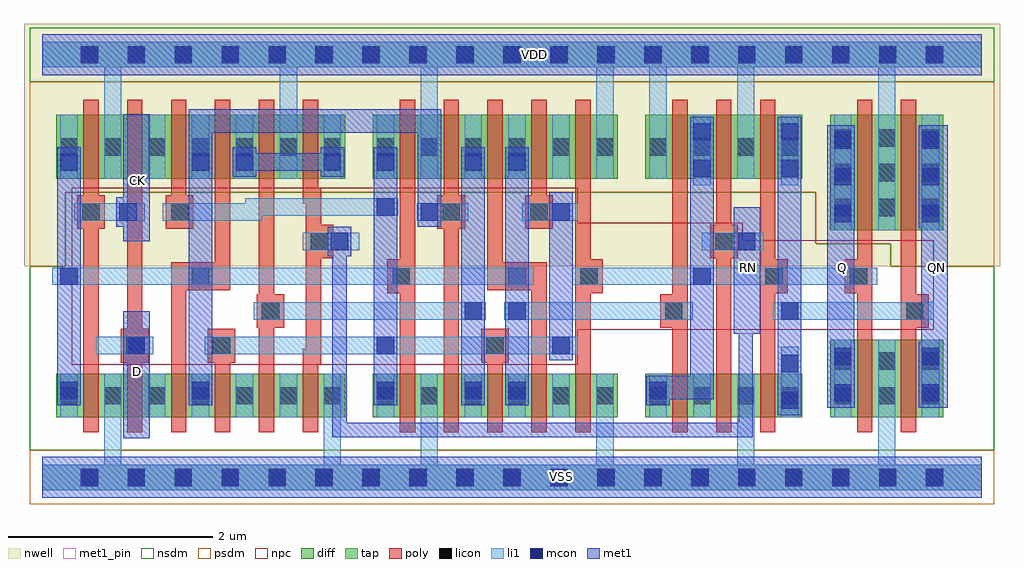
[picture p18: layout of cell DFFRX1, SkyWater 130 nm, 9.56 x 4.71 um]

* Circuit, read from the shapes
.subckt DFFRX1 CK D Q QN RN VDD VSS
XM1 VSS CK n1 VSS sky130_fd_pr__nfet_01v8 w=0.425 l=0.15
XM2 n2 D VSS VSS sky130_fd_pr__nfet_01v8 w=0.425 l=0.15
XM3 n3 n1 n2 VSS sky130_fd_pr__nfet_01v8 w=0.425 l=0.15
XM4 n4 n5 n3 VSS sky130_fd_pr__nfet_01v8 w=0.425 l=0.15
XM5 n6 n7 n4 VSS sky130_fd_pr__nfet_01v8 w=0.425 l=0.15
XM6 VSS RN n6 VSS sky130_fd_pr__nfet_01v8 w=0.425 l=0.15
XM7 VSS n1 n5 VSS sky130_fd_pr__nfet_01v8 w=0.425 l=0.15
XM8 n7 n3 VSS VSS sky130_fd_pr__nfet_01v8 w=0.425 l=0.15
XM9 n8 n5 n7 VSS sky130_fd_pr__nfet_01v8 w=0.425 l=0.15
XM10 n9 n1 n8 VSS sky130_fd_pr__nfet_01v8 w=0.425 l=0.15
XM11 VSS n10 n9 VSS sky130_fd_pr__nfet_01v8 w=0.425 l=0.15
XM12 n11 n8 n10 VSS sky130_fd_pr__nfet_01v8 w=0.425 l=0.15
XM13 VSS RN n11 VSS sky130_fd_pr__nfet_01v8 w=0.425 l=0.15
XM14 n12 n10 VSS VSS sky130_fd_pr__nfet_01v8 w=0.425 l=0.15
XM15 VSS n10 Q VSS sky130_fd_pr__nfet_01v8 w=0.76 l=0.15
XM16 QN n12 VSS VSS sky130_fd_pr__nfet_01v8 w=0.76 l=0.15
XM17 VDD CK n1 VDD sky130_fd_pr__pfet_01v8 w=0.625 l=0.15
XM18 n13 D VDD VDD sky130_fd_pr__pfet_01v8 w=0.625 l=0.15
XM19 n3 n5 n13 VDD sky130_fd_pr__pfet_01v8 w=0.625 l=0.15
XM20 n14 n1 n3 VDD sky130_fd_pr__pfet_01v8 w=0.625 l=0.15
XM21 VDD n7 n14 VDD sky130_fd_pr__pfet_01v8 w=0.625 l=0.15
XM22 n14 RN VDD VDD sky130_fd_pr__pfet_01v8 w=0.625 l=0.15
XM23 VDD n1 n5 VDD sky130_fd_pr__pfet_01v8 w=0.625 l=0.15
XM24 n7 n3 VDD VDD sky130_fd_pr__pfet_01v8 w=0.625 l=0.15
XM25 n8 n1 n7 VDD sky130_fd_pr__pfet_01v8 w=0.625 l=0.15
XM26 n15 n5 n8 VDD sky130_fd_pr__pfet_01v8 w=0.625 l=0.15
XM27 VDD n10 n15 VDD sky130_fd_pr__pfet_01v8 w=0.625 l=0.15
XM28 n10 n8 VDD VDD sky130_fd_pr__pfet_01v8 w=0.625 l=0.15
XM29 VDD RN n10 VDD sky130_fd_pr__pfet_01v8 w=0.625 l=0.15
XM30 n12 n10 VDD VDD sky130_fd_pr__pfet_01v8 w=0.625 l=0.15
XM31 VDD n10 Q VDD sky130_fd_pr__pfet_01v8 w=1.13 l=0.15
XM32 QN n12 VDD VDD sky130_fd_pr__pfet_01v8 w=1.13 l=0.15
.ends

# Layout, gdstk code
from math import pi, radians
import gdstk
lib = gdstk.Library(unit=1e-6, precision=1e-09)
def R(c, l, rs):  # rectangles x0, y0, x1, y1
    for r in rs: c.add(gdstk.rectangle(r[:2], r[2:], *l))
def A(c, l, x, y, w, h, nx, ny, dx, dy):  # array of equal rectangles
    R(c, l, [(x+i*dx, y+j*dy, x+i*dx+w, y+j*dy+h) for i in range(nx) for j in range(ny)])
def P(c, l, *ps):  # polygons
    for p in ps: c.add(gdstk.Polygon(p, *l))
nwell = (64, 20)
diff = (65, 20)
tap = (65, 44)
poly = (66, 20)
licon = (66, 44)
li1 = (67, 20)
mcon = (67, 44)
met1_pin = (68, 16)
met1 = (68, 20)
nsdm = (93, 44)
psdm = (94, 20)
npc = (95, 20)

pyl1con_c_cdns_751554744 = lib.new_cell('PYL1CON_C_CDNS_751554744754')
R(pyl1con_c_cdns_751554744, poly, [(-0.135,-0.29,0.135,0.29)])
R(pyl1con_c_cdns_751554744, licon, [(-0.085,-0.085,0.085,0.085)])
R(pyl1con_c_cdns_751554744, npc, [(-0.185,-0.185,0.185,0.185)])

c_pyl1con_c_cdns_751554744 = lib.new_cell('PYL1CON_C_CDNS_751554744751')
R(c_pyl1con_c_cdns_751554744, poly, [(-0.135,-0.165,0.135,0.165)])
R(c_pyl1con_c_cdns_751554744, licon, [(-0.085,-0.085,0.085,0.085)])
R(c_pyl1con_c_cdns_751554744, npc, [(-0.185,-0.185,0.185,0.185)])

licondiff_c_cdns_7515547 = lib.new_cell('LICONDIFF_C_CDNS_751554744755')
R(licondiff_c_cdns_7515547, diff, [(-0.125,-0.145,0.125,0.145)])
R(licondiff_c_cdns_7515547, licon, [(-0.085,-0.085,0.085,0.085), (-0.085,-0.085,0.085,0.085)])

dffrx1 = lib.new_cell('DFFRX1')
R(dffrx1, nwell, [(-0.18,2.07,9.38,4.445)])
R(dffrx1, diff, [(0.135,0.59,2.965,1.015), (3.235,0.59,5.635,1.015), (5.905,0.59,7.445,1.015), (7.715,0.59,8.825,1.35), (7.715,2.42,8.825,3.55), (0.135,2.925,2.965,3.55), (3.235,2.925,5.635,3.55), (5.905,2.925,7.445,3.55)])
A(dffrx1, poly, 6.17, 0.44, 0.15, 3.26, 3, 1, 0.43, 0)
R(dffrx1, poly, [(0.4,0.44,0.55,3.7), (0.83,0.44,0.98,3.7), (1.69,0.44,1.84,1.165), (2.12,0.44,2.27,3.7), (3.5,0.44,3.65,3.7), (3.93,0.44,4.08,3.7), (4.36,0.44,4.51,1.165), (5.22,0.44,5.37,3.7), (7.98,0.44,8.13,3.7), (8.41,0.44,8.56,3.7), (1.26,2.72,1.41,3.7), (4.79,2.72,4.94,3.7)])
P(dffrx1, poly, [(4.79,0.44),(4.79,1.895),(4.36,1.895),(4.36,3.7),(4.51,3.7),(4.51,2.045),(4.94,2.045),(4.94,0.44)],
  [(2.55,0.44),(2.55,1.26),(2.58,1.26),(2.58,2.68),(2.55,2.68),(2.55,3.7),(2.7,3.7),(2.7,2.83),(2.73,2.83),(2.73,1.11),(2.7,1.11),(2.7,0.44)],
  [(1.26,0.44),(1.26,2.045),(1.69,2.045),(1.69,3.7),(1.84,3.7),(1.84,1.895),(1.41,1.895),(1.41,0.44)])
A(dffrx1, licon, 0.375, -0.085, 0.17, 0.17, 19, 2, 0.46, 4.14)
A(dffrx1, licon, 3.275, 0.715, 0.17, 0.17, 4, 2, 0.43, 2.435)
A(dffrx1, licon, 5.945, 0.715, 0.17, 0.17, 4, 2, 0.43, 2.435)
A(dffrx1, licon, 7.755, 0.715, 0.17, 0.17, 3, 2, 0.43, 0.34)
A(dffrx1, licon, 7.755, 2.56, 0.17, 0.17, 3, 3, 0.43, 0.34)
A(dffrx1, licon, 1.465, 3.15, 0.17, 0.17, 4, 1, 0.43, 0)
R(dffrx1, licon, [(0.175,0.715,0.345,0.885), (0.605,0.715,0.775,0.885), (1.465,0.715,1.635,0.885), (2.755,0.715,2.925,0.885), (5.425,0.715,5.595,0.885), (0.175,3.15,0.345,3.32), (0.605,3.15,0.775,3.32), (5.425,3.15,5.595,3.32)])
R(dffrx1, li1, [(0.175,0.59,0.345,1.015), (1.465,0.59,1.635,1.015), (3.275,0.59,3.445,1.015), (4.135,0.59,4.305,1.015), (4.565,0.59,4.735,1.015), (5.945,0.59,6.115,1.015), (6.375,0.59,6.545,1.015), (7.235,0.59,7.405,1.015), (7.235,0.59,7.405,1.28), (7.755,0.59,7.925,1.35), (8.615,0.59,8.785,1.35), (7.755,0.66,7.925,1.35), (8.615,0.66,8.785,1.35), (0.175,0.685,0.345,1.015), (1.465,0.685,1.635,1.015), (3.275,0.685,3.445,1.015), (4.135,0.685,4.305,1.015), (4.565,0.685,4.735,1.015), (5.945,0.685,6.115,1.015), (0.755,1.205,1.085,1.375), (3.195,1.205,3.525,1.375), (4.915,1.205,5.245,1.375), (4.095,1.545,4.345,1.715), (4.525,1.545,4.775,1.715), (7.155,1.545,7.485,1.715), (0.095,1.885,0.425,2.055), (6.295,1.885,6.625,2.055), (2.825,2.225,2.995,2.395), (6.735,2.225,7.065,2.395), (7.755,2.42,7.925,3.55), (7.755,2.42,7.925,3.47), (8.615,2.42,8.785,3.55), (8.615,2.42,8.785,3.47), (0.31,2.515,0.855,2.685), (0.675,2.515,1.005,2.685), (3.665,2.515,3.915,2.685), (4.915,2.515,5.245,2.685), (3.235,2.565,3.485,2.735), (6.375,2.86,6.545,3.55), (7.235,2.86,7.405,3.55), (0.175,2.925,0.345,3.55), (0.175,2.925,0.345,3.255), (1.465,2.925,1.635,3.55), (1.465,2.925,1.635,3.255), (1.895,2.925,2.065,3.55), (1.895,2.925,2.065,3.255), (2.755,2.925,2.925,3.55), (2.755,2.925,2.925,3.255), (3.275,2.925,3.445,3.55), (3.275,2.925,3.445,3.255), (4.135,2.925,4.305,3.55), (4.135,2.925,4.305,3.255), (4.565,2.925,4.735,3.55), (4.565,2.925,4.735,3.255), (6.375,2.925,6.545,3.55), (7.235,2.925,7.405,3.55)])
P(dffrx1, li1, [(0,-0.125),(0,0.125),(0.605,0.125),(0.605,1.015),(0.775,1.015),(0.775,0.125),(2.755,0.125),(2.755,1.015),(2.925,1.015),(2.925,0.125),(3.705,0.125),(3.705,1.015),(3.875,1.015),(3.875,0.125),(5.425,0.125),(5.425,1.015),(5.595,1.015),(5.595,0.125),(6.805,0.125),(6.805,1.015),(6.975,1.015),(6.975,0.125),(8.185,0.125),(8.185,1.35),(8.355,1.35),(8.355,0.125),(9.2,0.125),(9.2,-0.125)],
  [(8.185,2.42),(8.185,4.015),(6.975,4.015),(6.975,2.925),(6.805,2.925),(6.805,4.015),(6.115,4.015),(6.115,2.925),(5.945,2.925),(5.945,4.015),(5.595,4.015),(5.595,2.925),(5.425,2.925),(5.425,4.015),(3.875,4.015),(3.875,2.925),(3.705,2.925),(3.705,4.015),(2.495,4.015),(2.495,2.925),(2.325,2.925),(2.325,4.015),(0.775,4.015),(0.775,2.925),(0.605,2.925),(0.605,4.015),(0,4.015),(0,4.265),(9.2,4.265),(9.2,4.015),(8.355,4.015),(8.355,2.42)],
  [(1.18,2.515),(1.18,2.685),(1.985,2.685),(1.985,2.735),(3.36,2.735),(3.36,2.565),(2.155,2.565),(2.155,2.515)])
A(dffrx1, mcon, 0.375, -0.085, 0.17, 0.17, 19, 2, 0.46, 4.14)
A(dffrx1, mcon, 0.175, 0.765, 0.17, 0.17, 1, 3, 0, 1.12)
A(dffrx1, mcon, 7.755, 2.5, 0.17, 0.17, 1, 3, 0, 0.36)
A(dffrx1, mcon, 8.615, 2.5, 0.17, 0.17, 1, 3, 0, 0.36)
R(dffrx1, mcon, [(7.235,0.67,7.405,0.84), (7.755,0.74,7.925,0.91), (8.615,0.74,8.785,0.91), (1.465,0.765,1.635,0.935), (3.275,0.765,3.445,0.935), (4.135,0.765,4.305,0.935), (4.565,0.765,4.735,0.935), (5.945,0.765,6.115,0.935), (7.235,1.03,7.405,1.2), (7.755,1.1,7.925,1.27), (8.615,1.1,8.785,1.27), (0.835,1.205,1.005,1.375), (3.275,1.205,3.445,1.375), (4.995,1.205,5.165,1.375), (4.135,1.545,4.305,1.715), (4.565,1.545,4.735,1.715), (7.235,1.545,7.405,1.715), (6.375,1.885,6.545,2.055), (2.825,2.225,2.995,2.395), (6.815,2.225,6.985,2.395), (0.755,2.515,0.925,2.685), (3.705,2.515,3.875,2.685), (4.995,2.515,5.165,2.685), (3.275,2.565,3.445,2.735), (6.375,2.94,6.545,3.11), (7.235,2.94,7.405,3.11), (1.465,3.005,1.635,3.175), (1.895,3.005,2.065,3.175), (2.755,3.005,2.925,3.175), (3.275,3.005,3.445,3.175), (4.135,3.005,4.305,3.175), (4.565,3.005,4.735,3.175), (6.375,3.3,6.545,3.47), (7.235,3.3,7.405,3.47)])
R(dffrx1, met1_pin, [(0.79,0.385,1.05,1.625), (7.69,0.68,7.95,3.45), (8.61,0.68,8.87,3.45), (6.77,1.405,7.03,2.645), (0.79,2.315,1.05,3.555)])
A(dffrx1, met1, 0.145, 0.705, 0.23, 0.29, 1, 3, 0, 1.12)
R(dffrx1, met1, [(7.205,0.61,7.435,1.26), (7.725,0.68,7.955,1.33), (8.585,0.68,8.815,1.33), (1.435,0.705,1.665,0.995), (3.245,0.705,3.475,0.995), (4.105,0.705,4.335,0.995), (4.535,0.705,4.765,0.995), (5.915,0.705,6.145,0.995), (0.805,1.145,1.035,1.435), (3.245,1.145,3.475,1.435), (4.965,1.145,5.195,1.435), (4.105,1.485,4.335,1.775), (4.535,1.485,4.765,1.775), (7.205,1.485,7.435,1.775), (6.345,1.825,6.575,2.115), (2.795,2.165,3.025,2.455), (6.785,2.165,7.015,2.455), (7.725,2.44,7.955,3.45), (8.585,2.44,8.815,3.45), (0.725,2.455,0.955,2.745), (3.675,2.455,3.905,2.745), (4.965,2.455,5.195,2.745), (3.245,2.505,3.475,2.795), (6.345,2.88,6.575,3.53), (7.205,2.88,7.435,3.53), (1.435,2.945,1.665,3.235), (1.865,2.945,2.095,3.235), (2.725,2.945,2.955,3.235), (3.245,2.945,3.475,3.235), (4.105,2.945,4.335,3.235), (4.535,2.945,4.765,3.235)])
P(dffrx1, met1, [(2.84,0.395),(2.84,2.31),(2.98,2.31),(2.98,0.535),(6.82,0.535),(6.82,1.405),(6.77,1.405),(6.77,2.645),(7.03,2.645),(7.03,1.405),(6.96,1.405),(6.96,0.395)])
R(dffrx1, nsdm, [(-0.125,3.875,9.325,4.405)])
P(dffrx1, nsdm, [(-0.125,0.265),(-0.125,2.07),(0.225,2.07),(0.225,2.795),(7.575,2.795),(7.575,2.29),(8.31,2.29),(8.31,2.07),(9.325,2.07),(9.325,0.265)])
R(dffrx1, psdm, [(-0.125,-0.265,9.325,0.265)])
P(dffrx1, psdm, [(-0.125,2.07),(-0.125,3.875),(9.325,3.875),(9.325,2.07),(8.31,2.07),(8.31,2.29),(7.575,2.29),(7.575,2.795),(0.225,2.795),(0.225,2.07)])
P(dffrx1, npc, [(0.29,1.105),(0.29,2.835),(5.245,2.835),(5.245,2.495),(6.86,2.495),(6.86,2.325),(8.73,2.325),(8.73,1.445),(5.245,1.445),(5.245,1.105)])
dffrx1.add(gdstk.FlexPath([(2.55,2.31),(3.105,2.31)], 0.17, ends="flush", simple_path=True, layer=67, datatype=20))  # li1
dffrx1.add(gdstk.FlexPath([(7.055,2.31),(6.46,2.31)], 0.17, ends="flush", simple_path=True, layer=67, datatype=20))  # li1
dffrx1.add(gdstk.FlexPath([(2.07,1.63),(4.345,1.63)], 0.17, ends="flush", simple_path=True, layer=67, datatype=20))  # li1
dffrx1.add(gdstk.FlexPath([(1.59,1.29),(5.245,1.29)], 0.17, ends="flush", simple_path=True, layer=67, datatype=20))  # li1
dffrx1.add(gdstk.FlexPath([(0.095,1.97),(4.815,1.97)], 0.17, ends="flush", simple_path=True, layer=67, datatype=20))  # li1
dffrx1.add(gdstk.FlexPath([(1.12,0.59),(1.12,1.015)], 0.17, ends="flush", simple_path=True, layer=67, datatype=20))  # li1
dffrx1.add(gdstk.FlexPath([(1.98,0.59),(1.98,1.015)], 0.17, ends="flush", simple_path=True, layer=67, datatype=20))  # li1
dffrx1.add(gdstk.FlexPath([(2.41,0.59),(2.41,1.015)], 0.17, ends="flush", simple_path=True, layer=67, datatype=20))  # li1
dffrx1.add(gdstk.FlexPath([(5.08,0.59),(5.08,1.015)], 0.17, ends="flush", simple_path=True, layer=67, datatype=20))  # li1
dffrx1.add(gdstk.FlexPath([(4.525,1.63),(6.37,1.63)], 0.17, ends="flush", simple_path=True, layer=67, datatype=20))  # li1
dffrx1.add(gdstk.FlexPath([(3.665,2.6),(4.17,2.6)], 0.17, ends="flush", simple_path=True, layer=67, datatype=20))  # li1
dffrx1.add(gdstk.FlexPath([(0.525,1.29),(1.07,1.29)], 0.17, ends="flush", simple_path=True, layer=67, datatype=20))  # li1
dffrx1.add(gdstk.FlexPath([(4.7,2.6),(5.245,2.6)], 0.17, ends="flush", simple_path=True, layer=67, datatype=20))  # li1
dffrx1.add(gdstk.FlexPath([(1.12,2.925),(1.12,3.55)], 0.17, ends="flush", simple_path=True, layer=67, datatype=20))  # li1
dffrx1.add(gdstk.FlexPath([(5.08,2.925),(5.08,3.55)], 0.17, ends="flush", simple_path=True, layer=67, datatype=20))  # li1
dffrx1.add(gdstk.FlexPath([(5.19,1.97),(8.18,1.97)], 0.17, ends="flush", simple_path=True, layer=67, datatype=20))  # li1
dffrx1.add(gdstk.FlexPath([(7.155,1.63),(8.73,1.63)], 0.17, ends="flush", simple_path=True, layer=67, datatype=20))  # li1
dffrx1.add(gdstk.FlexPath([(0.92,1.625),(0.92,0.385)], 0.26, ends="flush", simple_path=True, layer=68, datatype=20))  # met1
dffrx1.add(gdstk.FlexPath([(7.82,3.45),(7.82,0.68)], 0.26, ends="flush", simple_path=True, layer=68, datatype=20))  # met1
dffrx1.add(gdstk.FlexPath([(8.74,3.45),(8.74,0.68)], 0.26, ends="flush", simple_path=True, layer=68, datatype=20))  # met1
dffrx1.add(gdstk.FlexPath([(0.92,2.315),(0.92,3.555)], 0.26, ends="flush", simple_path=True, layer=68, datatype=20))  # met1
dffrx1.add(gdstk.FlexPath([(7.32,0.61),(7.32,3.53)], 0.23, ends="flush", simple_path=True, layer=68, datatype=20))  # met1
dffrx1.add(gdstk.FlexPath([(5.08,1.145),(5.08,2.795)], 0.23, ends="flush", simple_path=True, layer=68, datatype=20))  # met1
dffrx1.add(gdstk.FlexPath([(3.79,2.505),(3.79,3.49),(1.55,3.49),(1.55,0.705)], 0.23, ends="flush", simple_path=True, layer=68, datatype=20))  # met1
dffrx1.add(gdstk.FlexPath([(1.865,3.09),(2.955,3.09)], 0.17, ends="flush", simple_path=True, layer=68, datatype=20))  # met1
dffrx1.add(gdstk.FlexPath([(6.46,3.53),(6.46,0.88),(5.915,0.88)], 0.23, ends="flush", simple_path=True, layer=68, datatype=20))  # met1
dffrx1.add(gdstk.FlexPath([(0,0),(9.2,0)], 0.4, ends="flush", simple_path=True, layer=68, datatype=20))  # met1
dffrx1.add(gdstk.FlexPath([(0,4.14),(9.2,4.14)], 0.4, ends="flush", simple_path=True, layer=68, datatype=20))  # met1
dffrx1.add(gdstk.FlexPath([(0.26,0.705),(0.26,3.235)], 0.23, ends="flush", simple_path=True, layer=68, datatype=20))  # met1
dffrx1.add(gdstk.FlexPath([(3.36,0.705),(3.36,3.235)], 0.23, ends="flush", simple_path=True, layer=68, datatype=20))  # met1
dffrx1.add(gdstk.FlexPath([(4.22,0.705),(4.22,3.235)], 0.23, ends="flush", simple_path=True, layer=68, datatype=20))  # met1
dffrx1.add(gdstk.FlexPath([(4.65,0.705),(4.65,3.235)], 0.23, ends="flush", simple_path=True, layer=68, datatype=20))  # met1
dffrx1.add(gdstk.FlexPath([(0,0),(9.2,0)], 0.25, ends="flush", simple_path=True, layer=65, datatype=44))  # tap
dffrx1.add(gdstk.FlexPath([(0,4.14),(9.2,4.14)], 0.25, ends="flush", simple_path=True, layer=65, datatype=44))  # tap
dffrx1.add(gdstk.FlexPath([(0,0),(9.2,0)], 0.4, ends="flush", simple_path=True, layer=68, datatype=16))  # met1_pin
dffrx1.add(gdstk.FlexPath([(0,4.14),(9.2,4.14)], 0.4, ends="flush", simple_path=True, layer=68, datatype=16))  # met1_pin
dffrx1.add(gdstk.Reference(pyl1con_c_cdns_751554744, (4.65,1.97), rotation=pi/2))
dffrx1.add(gdstk.Reference(c_pyl1con_c_cdns_751554744, (6.185,1.63)))
dffrx1.add(gdstk.Reference(c_pyl1con_c_cdns_751554744, (6.675,2.31)))
dffrx1.add(gdstk.Reference(c_pyl1con_c_cdns_751554744, (0.905,1.29), x_reflection=True))
dffrx1.add(gdstk.Reference(c_pyl1con_c_cdns_751554744, (1.755,1.29), x_reflection=True))
dffrx1.add(gdstk.Reference(c_pyl1con_c_cdns_751554744, (4.435,1.29), x_reflection=True))
dffrx1.add(gdstk.Reference(c_pyl1con_c_cdns_751554744, (2.715,2.31), x_reflection=True))
dffrx1.add(gdstk.Reference(c_pyl1con_c_cdns_751554744, (2.235,1.63), rotation=pi))
dffrx1.add(gdstk.Reference(c_pyl1con_c_cdns_751554744, (0.475,2.6), rotation=pi))
dffrx1.add(gdstk.Reference(c_pyl1con_c_cdns_751554744, (1.345,2.6), rotation=pi))
dffrx1.add(gdstk.Reference(c_pyl1con_c_cdns_751554744, (4.005,2.6), rotation=pi))
dffrx1.add(gdstk.Reference(c_pyl1con_c_cdns_751554744, (4.865,2.6), rotation=pi))
dffrx1.add(gdstk.Reference(c_pyl1con_c_cdns_751554744, (8.545,1.63), rotation=pi, x_reflection=True))
dffrx1.add(gdstk.Reference(c_pyl1con_c_cdns_751554744, (3.515,1.97), rotation=pi, x_reflection=True))
dffrx1.add(gdstk.Reference(c_pyl1con_c_cdns_751554744, (5.355,1.97), rotation=pi, x_reflection=True))
dffrx1.add(gdstk.Reference(c_pyl1con_c_cdns_751554744, (7.165,1.97), rotation=pi, x_reflection=True))
dffrx1.add(gdstk.Reference(c_pyl1con_c_cdns_751554744, (7.995,1.97), rotation=pi, x_reflection=True))
dffrx1.add(gdstk.Reference(pyl1con_c_cdns_751554744, (1.55,1.97), rotation=pi/2, x_reflection=True))
dffrx1.add(gdstk.Reference(licondiff_c_cdns_7515547, (1.12,0.8)))
dffrx1.add(gdstk.Reference(licondiff_c_cdns_7515547, (1.98,0.8)))
dffrx1.add(gdstk.Reference(licondiff_c_cdns_7515547, (2.41,0.8)))
dffrx1.add(gdstk.Reference(licondiff_c_cdns_7515547, (5.08,0.8)))
dffrx1.add(gdstk.Reference(licondiff_c_cdns_7515547, (1.12,3.235)))
dffrx1.add(gdstk.Reference(licondiff_c_cdns_7515547, (5.08,3.235)))
dffrx1.add(gdstk.Label('RN', (6.915,2.055), layer=68, texttype=5))
dffrx1.add(gdstk.Label('D', (0.935,1.035), layer=68, texttype=5))
dffrx1.add(gdstk.Label('Q', (7.835,2.055), layer=68, texttype=5))
dffrx1.add(gdstk.Label('QN', (8.755,2.055), layer=68, texttype=5))
dffrx1.add(gdstk.Label('VSS', (5.085,0.005), layer=68, texttype=5))
dffrx1.add(gdstk.Label('CK', (0.935,2.91), layer=68, texttype=5))
dffrx1.add(gdstk.Label('VDD', (4.825,4.145), layer=68, texttype=5))

lib.write_gds('DFFRX1.gds')
